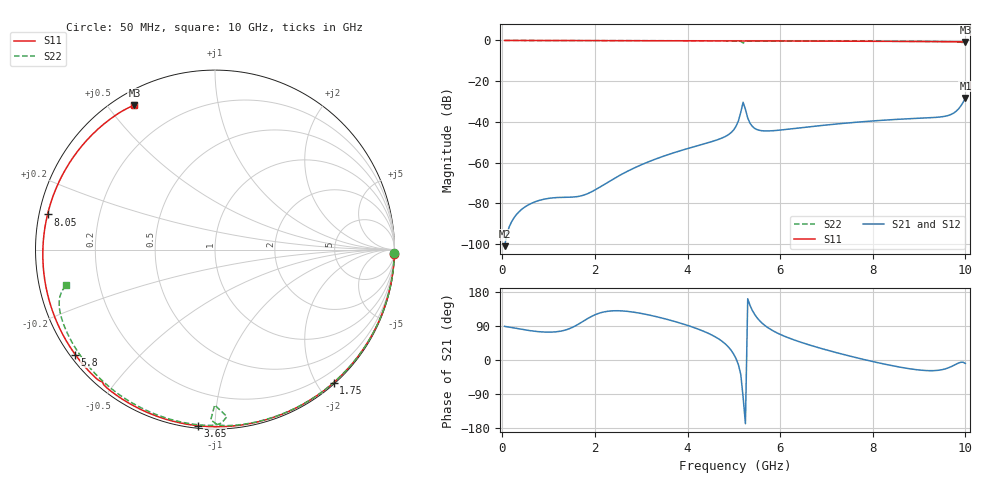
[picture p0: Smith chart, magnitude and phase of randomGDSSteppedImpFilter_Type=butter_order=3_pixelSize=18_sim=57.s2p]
! freq	dB(S11)	phase(S11)	dB(S12)	phase(S12)
!  dB(S21)	phase(S21)	dB(S22)	phase(S22)
!S-par simulation data
#  GHz  S  DB  R 50
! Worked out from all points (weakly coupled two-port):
!   200 points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, 50 MHz to 10 GHz, reference 50 ohm
!   highest |S21| = -28.23 dB at 10 GHz (marker M1); lowest = -101.0 dB at 50 MHz (marker M2)
!   lowest |S11| = -0.7 dB at 10 GHz (marker M3), VSWR 24.54, Z = 2.74 + j29.3 ohm
!   |S11| at or under -10 dB: nowhere
!   |S22| runs from -1.4 to 0.0 dB; largest |S21 - S12| = 0
!   S11 on the Smith chart (normalised r, x): 50 MHz: 0, -80; 1.75 GHz: 0.02, -2.23; 3.65 GHz: 0.01, -0.91; 5.8 GHz: 0.01, -0.33; 8.05 GHz: 0.02, +0.10; 10 GHz: 0.05, +0.59
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0.05  -0.00 -1.4  -100.96 88.8  -100.96 88.8  -0.00 -0.9
0.6  -0.02 -16.9  -80.25 77.4  -80.25 77.4  -0.01 -10.9
0.85  -0.03 -23.8  -78.17 74.2  -78.17 74.2  -0.02 -15.5
1.75  -0.06 -48.3  -75.96 102.5  -75.96 102.5  -0.04 -31.6
2.55  -0.09 -69.0  -66.02 129.8  -66.02 129.8  -0.06 -45.6
3.4  -0.11 -89.7  -57.46 112.2  -57.46 112.2  -0.08 -60.0
3.65  -0.12 -95.6  -55.51 104.2  -55.51 104.2  -0.09 -64.2
4.75  -0.17 -120.5  -47.83 49.0  -47.83 49.0  -0.13 -82.3
4.95  -0.18 -124.9  -45.03 24.2  -45.03 24.2  -0.15 -85.9
5.05  -0.19 -127.2  -42.00 3.0  -42.00 3.0  -0.18 -88.0
5.1  -0.20 -128.3  -39.38 -12.9  -39.38 -12.9  -0.24 -89.5
5.2  -0.28 -130.4  -30.35 -97.8  -30.35 -97.8  -1.25 -90.1
5.3  -0.21 -132.2  -38.07 161.6  -38.07 161.6  -0.30 -87.8
5.4  -0.21 -134.5  -42.20 130.7  -42.20 130.7  -0.19 -90.5
5.55  -0.22 -137.7  -44.08 104.5  -44.08 104.5  -0.17 -93.3
5.8  -0.23 -143.1  -44.36 80.3  -44.36 80.3  -0.17 -97.5
6.7  -0.29 -162.3  -42.21 37.1  -42.21 37.1  -0.22 -111.2
8.05  -0.41 168.1  -39.42 -5.5  -39.42 -5.5  -0.33 -131.2
8.35  -0.45 161.2  -38.96 -13.3  -38.96 -13.3  -0.36 -135.7
9.6  -0.60 130.1  -37.01 -22.1  -37.01 -22.1  -0.57 -155.9
9.8  -0.63 124.7  -34.75 -10.9  -34.75 -10.9  -0.71 -160.3
10  -0.71 119.2  -28.23 -9.1  -28.23 -9.1  -1.38 -166.5
